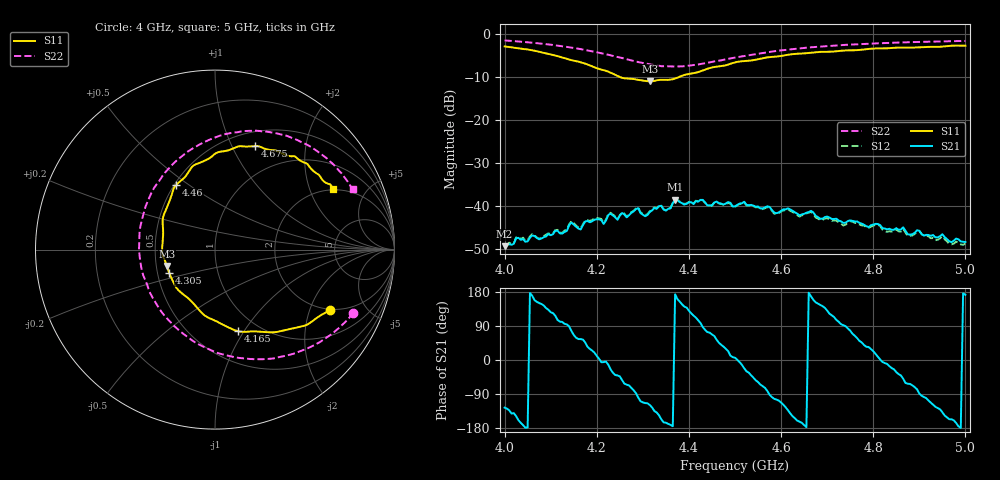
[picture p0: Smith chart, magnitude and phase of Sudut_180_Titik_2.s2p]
# Hz S RI R 50
! CMT, C1220, 16058040, 17.2.0/1
! Date: 15/08/2018 11:42:31
! Data: Format (Calibration Info)
! Freq  S11: Re/Im (F2)  S21: Re/Im (F2)  S12: Re/Im (F2)  S22: Re/Im (F2)
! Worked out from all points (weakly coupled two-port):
!   201 points, 4 GHz to 5 GHz, reference 50 ohm
!   highest |S21| = -38.54 dB at 4.37 GHz (marker M1); lowest = -49.3 dB at 4 GHz (marker M2)
!   lowest |S11| = -11.0 dB at 4.315 GHz (marker M3), VSWR 1.79, Z = 28.4 - j5.65 ohm
!   |S11| at or under -10 dB: 4.252 GHz to 4.377 GHz (125.5 MHz wide, 2.91 % of centre)
!   |S22| runs from -7.5 to -1.4 dB; largest |S21 - S12| = 0.00043
!   S11 on the Smith chart (normalised r, x): 4 GHz: 1.96, -2.76; 4.165 GHz: 0.80, -0.94; 4.305 GHz: 0.58, -0.17; 4.46 GHz: 0.51, +0.45; 4.675 GHz: 0.66, +1.23; 5 GHz: 1.97, +2.90
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4e9  0.6381 -0.3375  -0.00199 -0.00277  -0.00196 -0.00293  0.7709 -0.3524
4.025e9  0.5844 -0.3688  -0.00358 -0.00223  -0.00359 -0.00242  0.7227 -0.4063
4.125e9  0.2782 -0.4591  -0.000871 0.00469  -0.00102 0.00476  0.4373 -0.58
4.145e9  0.2044 -0.4557  0.0015 0.00627  0.00136 0.00655  0.3615 -0.5979
4.165e9  0.1288 -0.4551  0.00305 0.00438  0.00306 0.00454  0.2831 -0.6097
4.17e9  0.1129 -0.45  0.00352 0.00485  0.00356 0.00503  0.2625 -0.6107
4.215e9  -0.0352 -0.3803  0.00617 -0.000605  0.00639 -0.000558  0.0653 -0.5896
4.23e9  -0.0767 -0.3494  0.00741 -0.00343  0.0076 -0.00348  -0.00225 -0.5696
4.265e9  -0.1757 -0.2508  0.00311 -0.00671  0.0032 -0.0068  -0.1497 -0.4897
4.29e9  -0.2313 -0.182  -0.00151 -0.00934  -0.00149 -0.0095  -0.2458 -0.4063
4.305e9  -0.2542 -0.1316  -0.00307 -0.00697  -0.00318 -0.00717  -0.2949 -0.3512
4.315e9  -0.2682 -0.0914  -0.00409 -0.00747  -0.00423 -0.00762  -0.3237 -0.3078
4.335e9  -0.2928 -0.0264  -0.00824 -0.00558  -0.0084 -0.00557  -0.3715 -0.2161
4.35e9  -0.2936 0.0222  -0.00857 -0.00223  -0.00864 -0.0022  -0.3993 -0.1447
4.37e9  -0.289 0.0983  -0.0117 0.00138  -0.0118 0.00154  -0.419 -0.0448
4.46e9  -0.2167 0.3597  0.0067 0.00909  0.00688 0.00884  -0.3257 0.3631
4.5e9  -0.1352 0.451  0.00989 0.00104  0.00979 0.000978  -0.2238 0.4869
4.585e9  0.0376 0.5468  -0.00182 -0.0082  -0.00191 -0.00792  0.0256 0.6344
4.67e9  0.2155 0.5756  -0.00786 0.00303  -0.00749 0.00313  0.2601 0.659
4.675e9  0.2235 0.5766  -0.00681 0.0036  -0.00646 0.00351  0.2724 0.659
4.835e9  0.4841 0.4905  0.00522 -0.00152  0.0049 -0.00139  0.587 0.5358
5e9  0.6551 0.3366  -0.00379 0.000531  -0.00364 0.000357  0.7665 0.3372
